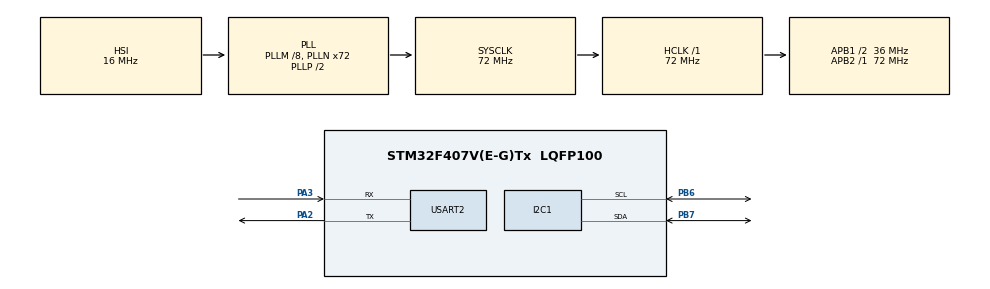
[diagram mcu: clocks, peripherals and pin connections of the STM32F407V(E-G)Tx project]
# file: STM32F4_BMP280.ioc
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Mcu.Family=STM32F4
Mcu.Name=STM32F407V(E-G)Tx
Mcu.Package=LQFP100
NVIC.PriorityGroup=NVIC_PRIORITYGROUP_4
PA13.Mode=Serial_Wire
PA13.Signal=SYS_JTMS-SWDIO
PA14.Mode=Serial_Wire
PA14.Signal=SYS_JTCK-SWCLK
PA2.Mode=Asynchronous
PA2.Signal=USART2_TX
PA3.Mode=Asynchronous
PA3.Signal=USART2_RX
PB6.Mode=I2C
PB6.Signal=I2C1_SCL
PB7.Mode=I2C
PB7.Signal=I2C1_SDA
PH0-OSC_IN.Mode=HSE-External-Oscillator
PH0-OSC_IN.Signal=RCC_OSC_IN
PH1-OSC_OUT.Mode=HSE-External-Oscillator
PH1-OSC_OUT.Signal=RCC_OSC_OUT
ProjectManager.HeapSize=0x200
ProjectManager.StackSize=0x400
ProjectManager.TargetToolchain=Makefile
RCC.48MHZClocksFreq_Value=36000000
RCC.AHBFreq_Value=72000000
RCC.APB1CLKDivider=RCC_HCLK_DIV2
RCC.APB1Freq_Value=36000000
RCC.APB1TimFreq_Value=72000000
RCC.APB2Freq_Value=72000000
RCC.APB2TimFreq_Value=72000000
RCC.CortexFreq_Value=72000000
RCC.HCLKFreq_Value=72000000
RCC.HSE_VALUE=25000000
RCC.HSI_VALUE=16000000
RCC.LSE_VALUE=32768
RCC.PLLM=8
RCC.PLLN=72
RCC.SYSCLKFreq_VALUE=72000000
RCC.SYSCLKSource=RCC_SYSCLKSOURCE_PLLCLK
RCC.VCOOutputFreq_Value=144000000
USART2.VirtualMode=VM_ASYNC
board=custom

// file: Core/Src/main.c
/* USER CODE BEGIN Header */
/**
  ******************************************************************************
  * @file           : main.c
  * @brief          : Main program body
  ******************************************************************************
  * @attention
  *
  * Copyright (c) 2024 STMicroelectronics.
  * All rights reserved.
  *
  * This software is licensed under terms that can be found in the LICENSE file
  * in the root directory of this software component.
  * If no LICENSE file comes with this software, it is provided AS-IS.
  *
  ******************************************************************************
  */
/* USER CODE END Header */
#include "main.h"
#include "stdio.h"
/* USER CODE BEGIN Includes */
#include "bmp280.h" // Thêm file header BMP280
#include "stdio.h"
#include "string.h"
/* USER CODE END Includes */

I2C_HandleTypeDef hi2c1;

UART_HandleTypeDef huart2;

void SystemClock_Config(void);
static void MX_GPIO_Init(void);
static void MX_I2C1_Init(void);
static void MX_USART2_UART_Init(void);

/* USER CODE BEGIN 0 */
#ifdef __GNUC__
#define PUTCHAR_PROTOTYPE int __io_putchar(int ch)
#else
#define PUTCHAR_PROTOTYPE int fputc(int ch, FILE *f)
#endif /* __GNUC__ */
/**
 * @brief  Retargets the C library printf function to the USART.
 * @param None
 * @retval None
 */
PUTCHAR_PROTOTYPE
{
  HAL_UART_Transmit(&huart2, (uint8_t *)&ch, 1, HAL_MAX_DELAY);
  return ch;
}

BMP280_HandleTypedef bmp280;
bmp280_params_t bmp280_params;
uint16_t tick = 0;
/* USER CODE END 0 */

int main(void)
{

  /* MCU Configuration--------------------------------------------------------*/

  /* Reset of all peripherals, Initializes the Flash interface and the Systick. */
  HAL_Init();

  /* Configure the system clock */
  SystemClock_Config();

  /* Initialize all configured peripherals */
  MX_GPIO_Init();
  MX_I2C1_Init();
  MX_USART2_UART_Init();
  /* USER CODE BEGIN 2 */
  bmp280.i2c = &hi2c1; // hi2c1 là biến I2C đã khởi tạo
  bmp280.addr = BMP280_I2C_ADDRESS_0; // hoặc BME280_I2C_ADDRESS_1

  // Khởi tạo các tham số mặc định cho BMP280
  bmp280_init_default_params(&bmp280_params);

  // Khởi tạo BMP280
  if (!bmp280_init(&bmp280, &bmp280_params))
  {
    // Xử lý lỗi khởi tạo
    while (1)
      ;
  }

  int32_t temperature;
  uint32_t pressure;
  /* USER CODE END 2 */

  /* Infinite loop */
  while (1)
  {

    /* USER CODE BEGIN 3 */

    // Đọc dữ liệu từ BMP280
    if (bmp280_read_fixed(&bmp280, &temperature, &pressure))
    {
      printf("Temperature: %ld.%02ld °C\n", temperature / 100, temperature % 100);
      printf("Pressure: %ld.%02ld hPa\n", pressure / 100, pressure % 100);
    }
    else
    {
      printf("Faild\n");
      // Xử lý lỗi đọc dữ liệu
    }
    HAL_Delay(1000);
    tick+=1;
  }
  /* USER CODE END 3 */
}

void SystemClock_Config(void)
{
  RCC_OscInitTypeDef RCC_OscInitStruct = {0};
  RCC_ClkInitTypeDef RCC_ClkInitStruct = {0};

  /** Configure the main internal regulator output voltage
  */
  __HAL_RCC_PWR_CLK_ENABLE();
  __HAL_PWR_VOLTAGESCALING_CONFIG(PWR_REGULATOR_VOLTAGE_SCALE1);

  /** Initializes the RCC Oscillators according to the specified parameters
  * in the RCC_OscInitTypeDef structure.
  */
  RCC_OscInitStruct.OscillatorType = RCC_OSCILLATORTYPE_HSI;
  RCC_OscInitStruct.HSIState = RCC_HSI_ON;
  RCC_OscInitStruct.HSICalibrationValue = RCC_HSICALIBRATION_DEFAULT;
  RCC_OscInitStruct.PLL.PLLState = RCC_PLL_ON;
  RCC_OscInitStruct.PLL.PLLSource = RCC_PLLSOURCE_HSI;
  RCC_OscInitStruct.PLL.PLLM = 8;
  RCC_OscInitStruct.PLL.PLLN = 72;
  RCC_OscInitStruct.PLL.PLLP = RCC_PLLP_DIV2;
  RCC_OscInitStruct.PLL.PLLQ = 4;
  if (HAL_RCC_OscConfig(&RCC_OscInitStruct) != HAL_OK)
  {
    Error_Handler();
  }

  /** Initializes the CPU, AHB and APB buses clocks
  */
  RCC_ClkInitStruct.ClockType = RCC_CLOCKTYPE_HCLK|RCC_CLOCKTYPE_SYSCLK
                              |RCC_CLOCKTYPE_PCLK1|RCC_CLOCKTYPE_PCLK2;
  RCC_ClkInitStruct.SYSCLKSource = RCC_SYSCLKSOURCE_PLLCLK;
  RCC_ClkInitStruct.AHBCLKDivider = RCC_SYSCLK_DIV1;
  RCC_ClkInitStruct.APB1CLKDivider = RCC_HCLK_DIV2;
  RCC_ClkInitStruct.APB2CLKDivider = RCC_HCLK_DIV1;

  if (HAL_RCC_ClockConfig(&RCC_ClkInitStruct, FLASH_LATENCY_2) != HAL_OK)
  {
    Error_Handler();
  }
}

static void MX_I2C1_Init(void)
{

  hi2c1.Instance = I2C1;
  hi2c1.Init.ClockSpeed = 100000;
  hi2c1.Init.DutyCycle = I2C_DUTYCYCLE_2;
  hi2c1.Init.OwnAddress1 = 0;
  hi2c1.Init.AddressingMode = I2C_ADDRESSINGMODE_7BIT;
  hi2c1.Init.DualAddressMode = I2C_DUALADDRESS_DISABLE;
  hi2c1.Init.OwnAddress2 = 0;
  hi2c1.Init.GeneralCallMode = I2C_GENERALCALL_DISABLE;
  hi2c1.Init.NoStretchMode = I2C_NOSTRETCH_DISABLE;
  if (HAL_I2C_Init(&hi2c1) != HAL_OK)
  {
    Error_Handler();
  }

}

static void MX_USART2_UART_Init(void)
{

  huart2.Instance = USART2;
  huart2.Init.BaudRate = 115200;
  huart2.Init.WordLength = UART_WORDLENGTH_8B;
  huart2.Init.StopBits = UART_STOPBITS_1;
  huart2.Init.Parity = UART_PARITY_NONE;
  huart2.Init.Mode = UART_MODE_TX_RX;
  huart2.Init.HwFlowCtl = UART_HWCONTROL_NONE;
  huart2.Init.OverSampling = UART_OVERSAMPLING_16;
  if (HAL_UART_Init(&huart2) != HAL_OK)
  {
    Error_Handler();
  }

}

static void MX_GPIO_Init(void)
{

  /* GPIO Ports Clock Enable */
  __HAL_RCC_GPIOH_CLK_ENABLE();
  __HAL_RCC_GPIOA_CLK_ENABLE();
  __HAL_RCC_GPIOB_CLK_ENABLE();

}

void Error_Handler(void)
{
  __disable_irq();
  while (1)
  {
  }
}
